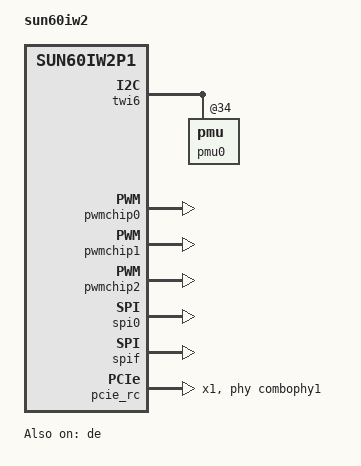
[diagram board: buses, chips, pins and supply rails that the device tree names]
/*
 * Allwinner Technology CO., Ltd. sun50iw10p1 platform
 *
 * modify base on juno.dts
 */
/dts-v1/;
#include <dt-bindings/interrupt-controller/arm-gic.h>
#include <dt-bindings/gpio/gpio.h>
#include "sun60iw2p1-clk.dtsi"
/*#include "sun50iw10p1-pinctrl.dtsi"*/
#include <dt-bindings/thermal/thermal.h>
#include <media_bus_format.h>
#include <drm/drm_mipi_dsi.h>
#include <dt-bindings/phy/phy.h>
/ {
	model = "sun60iw2";
	compatible = "allwinner,a733", "arm,sun60iw2p1";
	#address-cells = <2>;
	#size-cells = <2>;
	soc: soc@29000000 {
		compatible = "simple-bus";
		#address-cells = <2>;
		#size-cells = <2>;
		power_sply:power_sply@4500000c {
			device_type = "power_sply";

		};

		power_delay:power_delay@4500024 {
			device_type = "power_delay";
		};

		platform:platform@45000004 {
			device_type = "platform";

		};

		target:target@45000008 {
			device_type = "target";

		};

		charger0:charger0@45000010 {
			device_type = "charger0";

		};
		card_boot:card_boot@45000014 {
			device_type = "card_boot";
			logical_start   = <40960>;
			/* sprite_gpio0 = <&pio PI 9 1 0xffffffff 0xffffffff 1>; */
			boot_work_delay = <130>;
			boot_work_times = <3>;
			sprite_gpio0 = <&pio 0x8 0x9 0x1 0xffffffff 0xffffffff 0x0>;
		};

		gpio_bias:gpio_bias@45000018 {
			device_type = "gpio_bias";
		};

		fastboot_key:fastboot_key@4500001c {
			device_type = "fastboot_key";
			key_max = <42>;
			key_min = <38>;
		};

		recovery_key:recovery_key@45000020 {
			device_type = "recovery_key";
			key_max = <31>;
			key_min = <28>;
		};

		adc_boot_recovery:adc_boot_recovery@45000024 {
			device_type = "adc_boot_recovery";
		};

		gpadc_boot_recovery:gpadc_boot_recovery@45000024 {
			device_type = "gpadc_boot_recovery";
		};

		key_boot_recovery:key_boot_recovery@45000028 {
			device_type = "key_boot_recovery";
		};

		pio: pinctrl@0300b000 {
			compatible = "allwinner,sun60iw2p1-pinctrl";
			device_type = "pio";
			gpio-controller;
			#size-cells = <0>;
			#gpio-cells = <6>;
			/* takes the debounce time in usec as argument */
			input-debounce = <0 0 0 0 0 0 0 0 0>;
			r_pio: pinctrl@07025000 {

				s_twi0_pins_a: s_twi0@0 {
					allwinner,pins = "PL0", "PL1";
					allwinner,pname = "s_twi0_scl", "s_twi0_sda";
					allwinner,function = "s_twi0";
					allwinner,muxsel = <2>;
					allwinner,drive = <1>;
					allwinner,pull = <1>;
				};

				s_twi0_pins_b: s_twi0@1 {
					allwinner,pins = "PL0", "PL1";
					allwinner,function = "gpio_out";
					allwinner,muxsel = <1>;
					allwinner,drive = <1>;
					allwinner,pull = <1>;
				};
			};
			sdc0_pins_a: sdc0@0 {
			};

			sdc0_pins_b: sdc0@1 {
			};

			sdc0_pins_c: sdc0@2 {
			};

			sdc2_pins_a: sdc2@0 {
			};

			sdc2_pins_b: sdc2@1 {
			};

			sdc2_pins_c: sdc2@2 {
			};

			nand0_pins_a: nand0@0 {
			};

			nand0_pins_b: nand0@1 {
			};

			nand0_pins_c: nand0@2 {
			};

			spi0_pins_a: spi0@0 {
			};

			spi0_pins_b: spi0@1 {
			};

			spi0_pins_c: spi0@2 {
			};

			spif_pins_a: spif@0 {
			};

			spif_pins_b: spif@1 {
			};

			spif_pins_c: spif@2 {
			};

			twi6: s_twi@0x07083000 {
				pmu0: pmu@34 {
				};
			};
			lvds0_pins_a: lvds0@0 {
			};
			lvds0_pins_b: lvds0@1 {
			};
			lvds1_pins_a: lvds1@0 {
			};
			lvds1_pins_b: lvds1@1 {
			};
			lvds2_pins_a: lvds2@0 {
			};
			lvds2_pins_b: lvds2@1 {
			};
			lvds3_pins_a: lvds3@0 {
			};
			lvds3_pins_b: lvds3@1 {
			};
			lcd1_lvds2link_pins_a: lcd1_lvds2link@0 {
			};
			lcd1_lvds2link_pins_b: lcd1_lvds2link@1 {
			};
			lvds2link_pins_a: lvds2link@0 {
			};
			lvds2link_pins_b: lvds2link@1 {
			};
			rgb24_pins_a: rgb24@0 {
			};
			rgb24_pins_b: rgb24@1 {
			};
			rgb18_pins_a: rgb18@0 {
			};
			rgb18_pins_b: rgb18@1 {
			};
			eink_pins_a: eink@0 {
			};
			eink_pins_b: eink@1 {
			};
			dsi4lane_pins_a: dsi4lane@0{
			}; /* avoid compile err */
			dsi4lane_pins_b: dsi4lane@1{
			}; /* avoid compile err */
			dsi0_4lane_pins_a: dsi0_4lane@0 {
			};
			dsi0_4lane_pins_b: dsi0_4lane@1 {
			};
			dsi1_4lane_pins_a: dsi1_4lane@0 {
			};
			dsi1_4lane_pins_b: dsi1_4lane@1 {
			};
			pwm0_pin_active: pwm0@0 {
			};

			pwm0_pin_sleep: pwm0@1 {
			};

			pwm1_pin_active: pwm1@0 {
			};

			pwm1_pin_sleep: pwm1@1 {
			};

			pwm2_pin_active: pwm2@0 {
			};

			pwm2_pin_sleep: pwm2@1 {
			};

			pwm3_pin_active: pwm3@0 {
			};

			pwm3_pin_sleep: pwm3@1 {
			};

			pwm4_pin_active: pwm4@0 {
			};

			pwm4_pin_sleep: pwm4@1 {
			};

			pwm16_pin_active: pwm16@0 {
			};

			pwm16_pin_sleep: pwm16@1 {
			};

			pwm19_pin_active: pwm19@0 {
			};

			pwm19_pin_sleep: pwm19@1 {
			};
			gmac0_pins_default: gmac0@0 {
			};
			gmac0_pins_sleep: gmac0@1 {
			};
			gmac1_pins_default: gmac1@0 {
			};
			gmac1_pins_sleep: gmac1@1 {
			};
		};

		pwmchip0: pwmchip0@2527000 {
			#pwm-cells = <0x3>;
			compatible = "allwinner,sunxi-pwm";
			reg = <0x0 0x02527000 0x0 0x400>;
			pwm-number = <10>;
			pwm-base = <0x0>;
			sunxi-pwms = <&pwm0>, <&pwm1>, <&pwm2>, <&pwm3>, <&pwm4>,
			<&pwm5>, <&pwm6>, <&pwm7>, <&pwm8>, <&pwm9>;
		};

		pwm0: pwm0@2527010 {
			#pwm-cells = <0x3>;
			compatible = "allwinner,sunxi-pwm0";
			reg = <0x0 0x02527010 0x0 0x4>;
			reg_base = <0x02527000>;
			status = "disabled";
		};

		pwm1: pwm1@2527011 {
			#pwm-cells = <0x3>;
			compatible = "allwinner,sunxi-pwm1";
			reg = <0x0 0x02527011 0x0 0x4>;
			reg_base = <0x02527000>;
			status = "disabled";
		};

		pwm2: pwm2@2527012 {
			#pwm-cells = <0x3>;
			compatible = "allwinner,sunxi-pwm2";
			reg = <0x0 0x02527012 0x0 0x4>;
			reg_base = <0x02527000>;
			status = "disabled";
		};

		pwm3: pwm3@2527013 {
			#pwm-cells = <0x3>;
			compatible = "allwinner,sunxi-pwm3";
			reg = <0x0 0x02527013 0x0 0x4>;
			reg_base = <0x02527000>;
			status = "disabled";
		};

		pwm4: pwm4@2527014 {
			#pwm-cells = <0x3>;
			compatible = "allwinner,sunxi-pwm4";
			reg = <0x0 0x02527014 0x0 0x4>;
			reg_base = <0x02527000>;
			status = "disabled";
		};

		pwm5: pwm5@2527015 {
			#pwm-cells = <0x3>;
			compatible = "allwinner,sunxi-pwm5";
			reg = <0x0 0x02527015 0x0 0x4>;
			reg_base = <0x02527000>;
			status = "disabled";
		};

		pwm6: pwm6@2527016 {
			#pwm-cells = <0x3>;
			compatible = "allwinner,sunxi-pwm6";
			reg = <0x0 0x02527016 0x0 0x4>;
			reg_base = <0x02527000>;
			status = "disabled";
		};

		pwm7: pwm7@2527017 {
			#pwm-cells = <0x3>;
			compatible = "allwinner,sunxi-pwm7";
			reg = <0x0 0x02527017 0x0 0x4>;
			reg_base = <0x02527000>;
			status = "disabled";
		};

		pwm8: pwm8@2527018 {
			#pwm-cells = <0x3>;
			compatible = "allwinner,sunxi-pwm8";
			reg = <0x0 0x02527018 0x0 0x4>;
			reg_base = <0x02527000>;
			status = "disabled";
		};

		pwm9: pwm9@2527019 {
			#pwm-cells = <0x3>;
			compatible = "allwinner,sunxi-pwm9";
			reg = <0x0 0x02527019 0x0 0x4>;
			reg_base = <0x02527000>;
			status = "disabled";
		};

		pwmchip1: pwmchip1@2528000 {
			#pwm-cells = <0x3>;
			compatible = "allwinner,sunxi-pwm";
			reg = <0x0 0x02528000 0x0 0x400>;
			pwm-number = <10>;
			pwm-base = <0xa>;
			sunxi-pwms = <&pwm10>, <&pwm11>, <&pwm12>, <&pwm13>, <&pwm14>,
			<&pwm15>, <&pwm16>, <&pwm17>, <&pwm18>, <&pwm19>;
		};

		pwm10: pwm10@2528010 {
			#pwm-cells = <0x3>;
			compatible = "allwinner,sunxi-pwm10";
			reg = <0x0 0x02528010 0x0 0x4>;
			reg_base = <0x02528000>;
			status = "disabled";
		};

		pwm11: pwm11@2528011 {
			#pwm-cells = <0x3>;
			compatible = "allwinner,sunxi-pwm11";
			reg = <0x0 0x02528011 0x0 0x4>;
			reg_base = <0x02528000>;
			status = "disabled";
		};

		pwm12: pwm12@2528012 {
			#pwm-cells = <0x3>;
			compatible = "allwinner,sunxi-pwm12";
			reg = <0x0 0x02528012 0x0 0x4>;
			reg_base = <0x02528000>;
			status = "disabled";
		};

		pwm13: pwm13@2528013 {
			#pwm-cells = <0x3>;
			compatible = "allwinner,sunxi-pwm13";
			reg = <0x0 0x02528013 0x0 0x4>;
			reg_base = <0x02528000>;
			status = "disabled";
		};

		pwm14: pwm14@2528014 {
			#pwm-cells = <0x3>;
			compatible = "allwinner,sunxi-pwm14";
			reg = <0x0 0x02528014 0x0 0x4>;
			reg_base = <0x02528000>;
			status = "disabled";
		};

		pwm15: pwm15@2528015 {
			#pwm-cells = <0x3>;
			compatible = "allwinner,sunxi-pwm15";
			reg = <0x0 0x02528015 0x0 0x4>;
			reg_base = <0x02528000>;
			status = "disabled";
		};

		pwm16: pwm16@2528016 {
			#pwm-cells = <0x3>;
			compatible = "allwinner,sunxi-pwm16";
			reg = <0x0 0x02528016 0x0 0x4>;
			reg_base = <0x02528000>;
			status = "disabled";
		};

		pwm17: pwm17@2528017 {
			#pwm-cells = <0x3>;
			compatible = "allwinner,sunxi-pwm17";
			reg = <0x0 0x02528017 0x0 0x4>;
			reg_base = <0x02528000>;
			status = "disabled";
		};

		pwm18: pwm18@2528018 {
			#pwm-cells = <0x3>;
			compatible = "allwinner,sunxi-pwm18";
			reg = <0x0 0x02528018 0x0 0x4>;
			reg_base = <0x02528000>;
			status = "disabled";
		};

		pwm19: pwm19@2528019 {
			#pwm-cells = <0x3>;
			compatible = "allwinner,sunxi-pwm19";
			reg = <0x0 0x02528019 0x0 0x4>;
			reg_base = <0x02528000>;
			status = "disabled";
		};

		pwmchip2: spwm0@7023000 {
			#pwm-cells = <0x3>;
			compatible = "allwinner,sunxi-pwm";
			reg = <0x0 0x07023000 0x0 0x400>;
			pwm-number = <10>;
			pwm-base = <0x14>;
			sunxi-pwms = <&pwm20>, <&pwm21>, <&pwm22>, <&pwm23>, <&pwm24>,
			<&pwm25>, <&pwm26>, <&pwm27>, <&pwm28>, <&pwm29>;
		};

		pwm20: pwm20@7023010 {
			#pwm-cells = <0x3>;
			compatible = "allwinner,sunxi-pwm20";
			reg = <0x0 0x07023010 0x0 0x4>;
			reg_base = <0x07023000>;
			status = "disabled";
		};

		pwm21: pwm21@7023011 {
			#pwm-cells = <0x3>;
			compatible = "allwinner,sunxi-pwm21";
			reg = <0x0 0x07023011 0x0 0x4>;
			reg_base = <0x07023000>;
			status = "disabled";
		};

		pwm22: pwm22@7023012 {
			#pwm-cells = <0x3>;
			compatible = "allwinner,sunxi-pwm22";
			reg = <0x0 0x07023012 0x0 0x4>;
			reg_base = <0x07023000>;
			status = "disabled";
		};

		pwm23: pwm23@7023013 {
			#pwm-cells = <0x3>;
			compatible = "allwinner,sunxi-pwm23";
			reg = <0x0 0x07023013 0x0 0x4>;
			reg_base = <0x07023000>;
			status = "disabled";
		};

		pwm24: pwm24@7023014 {
			#pwm-cells = <0x3>;
			compatible = "allwinner,sunxi-pwm24";
			reg = <0x0 0x07023014 0x0 0x4>;
			reg_base = <0x07023000>;
			status = "disabled";
		};

		pwm25: pwm25@7023015 {
			#pwm-cells = <0x3>;
			compatible = "allwinner,sunxi-pwm25";
			reg = <0x0 0x07023015 0x0 0x4>;
			reg_base = <0x07023000>;
			status = "disabled";
		};

		pwm26: pwm26@7023016 {
			#pwm-cells = <0x3>;
			compatible = "allwinner,sunxi-pwm26";
			reg = <0x0 0x07023016 0x0 0x4>;
			reg_base = <0x07023000>;
			status = "disabled";
		};

		pwm27: pwm27@7023017 {
			#pwm-cells = <0x3>;
			compatible = "allwinner,sunxi-pwm27";
			reg = <0x0 0x07023017 0x0 0x4>;
			reg_base = <0x07023000>;
			status = "disabled";
		};

		pwm28: pwm28@7023018 {
			#pwm-cells = <0x3>;
			compatible = "allwinner,sunxi-pwm28";
			reg = <0x0 0x07023018 0x0 0x4>;
			reg_base = <0x07023000>;
			status = "disabled";
		};

		pwm29: pwm29@7023019 {
			#pwm-cells = <0x3>;
			compatible = "allwinner,sunxi-pwm29";
			reg = <0x0 0x07023019 0x0 0x4>;
			reg_base = <0x07023000>;
			status = "disabled";
		};

		card0_boot_para:card0_boot_para@2 {
			device_type = "card0_boot_para";
		};

		card2_boot_para:card2_boot_para@3 {
			device_type = "card2_boot_para";
		};

		sid: sid@3006000 {
			device_type = "sid";
		};

		nand0:nand0@04011000 {
			device_type = "nand0";
		};

		spi0: spi@2540000 {
			#address-cells = <1>;
			#size-cells = <0>;
			compatible = "allwinner,sun20i-spi";
			device_type = "spi0";
			reg = <0x0 0x02540000 0x0 0x300>;
			//interrupts-extended = <&plic0 31 IRQ_TYPE_LEVEL_HIGH>;
			//clocks = <&ccu CLK_PLL_PERIPH0>, <&ccu CLK_SPI0>, <&ccu CLK_BUS_SPI0>;
			//clock-names = "pll", "mod", "bus";
			//resets = <&ccu RST_BUS_SPI0>;
		};

		spif: spif@4f00000 {
			#address-cells = <1>;
			#size-cells = <0>;
			compatible = "allwinner,sun55i-spif";
			device_type = "spif";
			reg = <0x0 0x047f0000 0x0 0x1000>;
			//interrupts-extended = <&plic0 19 IRQ_TYPE_LEVEL_HIGH>;
			//clocks = <&ccu CLK_PLL_PERIPH0>, <&ccu CLK_SPIF>, <&ccu CLK_BUS_SPIF>;
			//clock-names = "pll", "mod", "bus";
			//resets = <&ccu RST_BUS_SPIF>;
		};

		serdes: serdes@6c00000 {
			  compatible = "allwinner,cadence-combophy";
			  reg = <0x0 0x06c00000 0x0 0x400>, /* serdes top register part-1 */
					<0x0 0x06c06000 0x0 0x2000>, /* serdes top register part-2 */
					<0x0 0x0709016c 0x0 0x4>; /* sys-rtc */
			  clocks = <&clk_serdes_phy_cfgv>,
					   <&clk_dcxo_serdes0_gate>,
					   <&clk_dcxo_serdes1_gate>;
			  clock-names = "serdes-clk",
					   "dcxo-serdes0-clk",
					   "dcxo-serdes1-clk";
			  #address-cells = <2>;
			  #size-cells = <2>;
			  ranges;
			  status = "disabled";

			  combophy0: combo-phy0@6c01000 {
				  reg = <0x0 0x06c01000 0x0 0xa00>, /* combophy0 top register */
						<0x0 0x06c80000 0x0 0x20000>; /* combophy0 phy register*/
				  #phy-cells = <1>;
			  };

			  combophy1: combo-phy1@6c02000 {
				  reg = <0x0 0x06c02000 0x0 0xa00>, /* combophy1 top register */
						<0x0 0x06ca0000 0x0 0x20000>; /* combophy1 phy register*/
				  #phy-cells = <1>;
			  };

			  aux_hpd: aux-hpd@6c01e00 {
				  reg = <0x0 0x06c01e00 0x0 0x200>; /* aux_hpd top register */
				  #phy-cells = <1>;
			  };
		};

		pcie_rc: pcie@6000000 {
			compatible = "allwinner,sunxi-pcie-v300-rc";
			#address-cells = <3>;
			#size-cells = <2>;
			bus-range = <0x0 0xff>;
			reg = <0 0x06000000 0 0x480000>;
			reg-names = "dbi";
			device_type = "pci";
			ranges = <0x00000800 0 0x20000000 0x0 0x20000000 0 0x01000000
				  0x81000000 0 0x21000000 0x0 0x21000000 0 0x01000000
				  0x82000000 0 0x22000000 0x0 0x22000000 0 0x0e000000>;
			num-lanes = <1>;
			phys = <&combophy1 PHY_TYPE_PCIE>;
			phy-names = "pcie-phy";
			#interrupt-cells = <1>;
			num-edma = <4>;
			max-link-speed = <3>;
			num-ib-windows = <16>;
			num-ob-windows = <16>;
			linux,pci-domain = <0>;
			status = "okay";
		};

		sunxi_drm: sunxi-drm {
			compatible = "allwinner,sunxi-drm";
			fb_base = <0>;
			status = "okay";
			route {
				disp0_lvds0: disp0_lvds0 {
					enable = <0>;
					status = "disabled";
					endpoints = <&disp0_out_tcon0 &tcon0_out_lvds0>;
					logo,uboot = "bootlogo.bmp";
				};
				disp0_lvds1: disp0_lvds1 {
					enable = <0>;
					status = "disabled";
					endpoints = <&disp0_out_tcon2 &tcon2_out_lvds1>;
					logo,uboot = "bootlogo.bmp";
				};
				disp0_rgb0: disp0_rgb0 {
					enable = <0>;
					status = "disabled";
					endpoints = <&disp0_out_tcon0 &tcon0_out_rgb0>;
					logo,uboot = "bootlogo.bmp";
				};
				disp0_rgb1: disp0_rgb1 {
					enable = <0>;
					status = "disabled";
					endpoints = <&disp0_out_tcon2 &tcon2_out_rgb1>;
					logo,uboot = "bootlogo.bmp";
				};
				disp0_dsi0: disp0_dsi0 {
					enable = <0>;
					status = "disabled";
					endpoints = <&disp0_out_tcon0 &tcon0_out_dsi0>;
					logo,uboot = "bootlogo.bmp";
				};
				disp0_dsi1: disp0_dsi1 {
					enable = <0>;
					status = "disabled";
					endpoints = <&disp0_out_tcon1 &tcon1_out_dsi1>;
					logo,uboot = "bootlogo.bmp";
				};
				disp0_edp0: disp0_edp0 {
					enable = <0>;
					status = "disabled";
					endpoints = <&disp0_out_tcon4 &tcon4_out_edp0>;
					logo,uboot = "bootlogo.bmp";
				};
				disp0_hdmi0: disp0_hdmi0 {
					enable = <0>;
					status = "disabled";
					endpoints = <&disp0_out_tcon3 &tcon3_out_hdmi0>;
					logo,uboot = "bootlogo.bmp";
				};

				disp1_lvds0: disp1_lvds0 {
					enable = <0>;
					status = "disabled";
					endpoints = <&disp1_out_tcon0 &tcon0_out_lvds0>;
					logo,uboot = "bootlogo.bmp";
				};
				disp1_lvds1: disp1_lvds1 {
					enable = <0>;
					status = "disabled";
					endpoints = <&disp1_out_tcon2 &tcon2_out_lvds1>;
					logo,uboot = "bootlogo.bmp";
				};
				disp1_rgb0: disp1_rgb0 {
					enable = <0>;
					status = "disabled";
					endpoints = <&disp1_out_tcon0 &tcon0_out_rgb0>;
					logo,uboot = "bootlogo.bmp";
				};
				disp1_rgb1: disp1_rgb1 {
					enable = <0>;
					status = "disabled";
					endpoints = <&disp1_out_tcon2 &tcon2_out_rgb1>;
					logo,uboot = "bootlogo.bmp";
				};
				disp1_dsi0: disp1_dsi0 {
					enable = <0>;
					status = "disabled";
					endpoints = <&disp1_out_tcon0 &tcon0_out_dsi0>;
					logo,uboot = "bootlogo.bmp";
				};
				disp1_dsi1: disp1_dsi1 {
					enable = <0>;
					status = "disabled";
					endpoints = <&disp1_out_tcon1 &tcon1_out_dsi1>;
					logo,uboot = "bootlogo.bmp";
				};
				disp1_edp0: disp1_edp0 {
					enable = <0>;
					status = "disabled";
					endpoints = <&disp1_out_tcon4 &tcon4_out_edp0>;
					logo,uboot = "bootlogo.bmp";
				};
				disp1_hdmi0: disp1_hdmi0 {
					enable = <0>;
					status = "disabled";
					endpoints = <&disp1_out_tcon3 &tcon3_out_hdmi0>;
					logo,uboot = "bootlogo.bmp";
				};
			};
		};

		de: de@5000000 {
			compatible = "allwinner,display-engine-v352";
//			iommus = <&mmu_aw 8 1>;
			/*power-domains = <&pd1 A523_PCK_DE>;*/
			reg = <0x0 0x5000000 0x0 0x400000>;
			interrupts = <GIC_SPI 50 IRQ_TYPE_LEVEL_HIGH>,
				     <GIC_SPI 34 IRQ_TYPE_LEVEL_HIGH>;
			clocks = <&clk_de0>;
			clock-names = "clk_de";

/*
			clocks = <&ccu CLK_DE0>,
				 <&ccu CLK_BUS_DE0>;
			clock-names = "clk_de",
				      "clk_bus_de";
			resets = <&ccu RST_BUS_DE0>,
				 <&ccu RST_BUS_DE_SY>;
			reset-names = "rst_bus_de",
				      "rst_bus_de_sys";
			assigned-clocks = <&ccu CLK_DE0>;
			assigned-clock-parents = <&ccu CLK_PLL_DE_3X>;
			assigned-clock-rates = <300000000>;*/
			status = "okay";
			ports {
				#address-cells = <1>;
				#size-cells = <0>;
				disp0: port@0 {
					reg = <0>;
					#address-cells = <1>;
					#size-cells = <0>;
					disp0_out_tcon0: endpoint@0 {
						reg = <0>;
						remote-endpoint = <&tcon0_in_disp0>;
					};
					disp0_out_tcon1: endpoint@1 {
						reg = <1>;
						remote-endpoint = <&tcon1_in_disp0>;
					};
					disp0_out_tcon2: endpoint@2 {
						reg = <2>;
						remote-endpoint = <&tcon2_in_disp0>;
					};
					disp0_out_tcon3: endpoint@3 {
						reg = <4>;
						remote-endpoint = <&tcon3_in_disp0>;
					};
					disp0_out_tcon4: endpoint@4 {
						reg = <5>;
						remote-endpoint = <&tcon4_in_disp0>;
					};
				};
				disp1: port@1 {
					reg = <1>;
					#address-cells = <1>;
					#size-cells = <0>;
					disp1_out_tcon0: endpoint@0 {
						reg = <0>;
						remote-endpoint = <&tcon0_in_disp1>;
					};
					disp1_out_tcon1: endpoint@1 {
						reg = <1>;
						remote-endpoint = <&tcon1_in_disp1>;
					};
					disp1_out_tcon2: endpoint@2 {
						reg = <2>;
						remote-endpoint = <&tcon2_in_disp1>;
					};
					disp1_out_tcon3: endpoint@3 {
						reg = <4>;
						remote-endpoint = <&tcon3_in_disp1>;
					};
					disp1_out_tcon4: endpoint@4 {
						reg = <5>;
						remote-endpoint = <&tcon4_in_disp1>;
					};
				};
			};
		};

		vo0: vo0@5500000 {
			compatible = "allwinner,tcon-top0";
			/*power-domains = <&pd1 A523_PCK_VO0>;*/
			reg = <0x0 0x05500000 0x0 0x1000>;
			clocks = <&clk_dpss_top0>;
			clock-names = "clk_bus_dpss_top";

			status = "disabled";
		};

		vo1: vo1@5510000 {
			compatible = "allwinner,tcon-top1";
			/*power-domains = <&pd1 A523_PCK_VO1>;*/
			reg = <0x0 0x05510000 0x0 0x1000>;
			clocks = <&clk_dpss_top1>;
			clock-names = "clk_bus_dpss_top";

			status = "disabled";
		};

		lcd0: tcon0@5501000 {
			compatible = "allwinner,tcon-lcd";
			reg = <0x0 0x05501000 0x0 0x1000>;
			interrupts = <GIC_SPI 54 IRQ_TYPE_LEVEL_HIGH>;
			clocks = <&clk_tcon_lcd0>;
			clock-names = "clk_tcon";
			top = <&vo0>;
			status = "disabled";
			ports {
				#address-cells = <1>;
				#size-cells = <0>;
				tcon0_in: port@0 {
					#address-cells = <1>;
					#size-cells = <0>;
					reg = <0>;
					tcon0_in_disp0: endpoint@0 {
						reg = <0>;
						remote-endpoint = <&disp0_out_tcon0>;
					};
					tcon0_in_disp1: endpoint@1 {
						reg = <1>;
						remote-endpoint = <&disp1_out_tcon0>;
					};
				};
				tcon0_out: port@1 {
					#address-cells = <1>;
					#size-cells = <0>;
					reg = <1>;
					tcon0_out_dsi0: endpoint@0 {
						reg = <0>;
						remote-endpoint = <&dsi0_in_tcon0>;
					};
					tcon0_out_dsi1: endpoint@1 {
						reg = <1>;
						remote-endpoint = <&dsi1_in_tcon0>;
					};
					tcon0_out_lvds0: endpoint@2 {
						reg = <2>;
						remote-endpoint = <&lvds0_in_tcon0>;
					};
					tcon0_out_rgb0: endpoint@3 {
						reg = <3>;
						remote-endpoint = <&rgb0_in_tcon0>;
					};
				};
			};
		};

		lcd1: tcon1@5502000 {
			compatible = "allwinner,tcon-lcd";
			reg = <0x0 0x05502000 0x0 0x1000>;
			interrupts = <GIC_SPI 55 IRQ_TYPE_LEVEL_HIGH>;
			clocks = <&clk_tcon_lcd1>;
			clock-names = "clk_tcon";
			top = <&vo0>;
			status = "disabled";
			ports {
				#address-cells = <1>;
				#size-cells = <0>;
				tcon1_in: port@0 {
					reg = <0>;
					#address-cells = <1>;
					#size-cells = <0>;
					tcon1_in_disp0: endpoint@0 {
						reg = <0>;
						remote-endpoint = <&disp0_out_tcon1>;
					};
					tcon1_in_disp1: endpoint@1 {
						reg = <1>;
						remote-endpoint = <&disp1_out_tcon1>;
					};
				};
				tcon1_out: port@1 {
					#address-cells = <1>;
					#size-cells = <0>;
					reg = <1>;
					tcon1_out_dsi1: endpoint@0 {
						reg = <0>;
						remote-endpoint = <&dsi1_in_tcon1>;
					};
				};
			};
		};

		lcd2: tcon2@5503000 {
			compatible = "allwinner,tcon-lcd";
			reg = <0x0 0x05503000 0x0 0x1000>;
			interrupts = <GIC_SPI 56 IRQ_TYPE_LEVEL_HIGH>;
			clocks = <&clk_tcon_lcd2>;
			clock-names = "clk_tcon";
			top = <&vo0>;
			status = "disabled";

			ports {
				#address-cells = <1>;
				#size-cells = <0>;
				tcon2_in: port@0 {
					#address-cells = <1>;
					#size-cells = <0>;
					reg = <0>;
					tcon2_in_disp0: endpoint@0 {
						reg = <0>;
						remote-endpoint = <&disp0_out_tcon2>;
					};
					tcon2_in_disp1: endpoint@1 {
						reg = <1>;
						remote-endpoint = <&disp1_out_tcon2>;
					};
				};
				tcon2_out: port@1 {
					#address-cells = <1>;
					#size-cells = <0>;
					reg = <1>;
					tcon2_out_lvds1: endpoint@0 {
						reg = <0>;
						remote-endpoint = <&lvds1_in_tcon2>;
					};
					tcon2_out_rgb1: endpoint@1 {
						reg = <1>;
						remote-endpoint = <&rgb1_in_tcon2>;
					};
				};
			};
		};

		dsi0combophy: phy@5507000 {
			compatible = "allwinner,sunxi-dsi-combo-phy0,sun60iw2";
			reg = <0x0 0x05507000 0x0 0x1ff>;
			clocks = <&clk_mipi_dsi0>;
			clock-names = "phy_clk";
			#phy-cells = <0>;
			status = "disabled";
		};

		dsi0: dsi0@5506000 {
			compatible = "allwinner,dsi0";
			reg = <0x0 0x05506000 0x0 0xfff>,
				<0x0 0x5504000 0x0 0xfff>;
			interrupts = <GIC_SPI 59 IRQ_TYPE_LEVEL_HIGH>;
			clocks = <&clk_mipi_dsi0>,
			       <&clk_mipi_dsc>;
			clock-names = "dsi_clk", "dsc_clk";
			phys = <&dsi0combophy>;
			phy-names = "combophy";
			status = "disabled";

			ports {
				#address-cells = <1>;
				#size-cells = <0>;
				dsi0_in: port@0 {
					#address-cells = <1>;
					#size-cells = <0>;
					reg = <0>;
					dsi0_in_tcon0: endpoint@0 {
						reg = <0>;
						remote-endpoint = <&tcon0_out_dsi0>;
					};
				};
			};
		};

		dsi1combophy: phy@5509000 {
			compatible = "allwinner,sunxi-dsi-combo-phy1,sun60iw2";
			reg = <0x0 0x05509000 0x0 0x1ff>;
			clocks = <&clk_mipi_dsi1>;
			clock-names = "phy_clk";
			#phy-cells = <0>;
			status = "disabled";
		};

		dsi1: dsi1@5508000 {
			compatible = "allwinner,dsi1";
			reg = <0x0 0x05508000 0x0 0xfff>;
			interrupts = <GIC_SPI 60 IRQ_TYPE_LEVEL_HIGH>;
			clocks = <&clk_mipi_dsi1>;
			clock-names = "dsi_clk";
			phys = <&dsi1combophy>;
			phy-names = "combophy";
			status = "disabled";
			ports {
				#address-cells = <1>;
				#size-cells = <0>;

				dsi1_in: port@0 {
					reg = <0>;
					#address-cells = <1>;
					#size-cells = <0>;
					dsi1_in_tcon1: endpoint@1 {
						reg = <0>;
						remote-endpoint = <&tcon1_out_dsi1>;
					};
					dsi1_in_tcon0: endpoint@0 {
						reg = <1>;
						remote-endpoint = <&tcon0_out_dsi1>;
					};
				};
			};
		};
		rgb0: rgb0@0001000 {
			compatible = "allwinner,rgb0";
			status = "disabled";
			ports {
				#address-cells = <1>;
				#size-cells = <0>;
				rgb0_in: port@0 {
					#address-cells = <1>;
					#size-cells = <0>;
					reg = <0>;
					rgb0_in_tcon0: endpoint@0 {
						reg = <0>;
						remote-endpoint = <&tcon0_out_rgb0>;
					};
				};
			};
		};

		lvds0: lvds0@0001000 {
			compatible = "allwinner,lvds0";
			clocks = <&clk_lvds0>;
			clock-names = "clk_lvds";
			phys = <&dsi0combophy>, <&dsi1combophy>;
			phy-names = "combophy0", "combophy1";
			status = "disabled";

			ports {
				#address-cells = <1>;
				#size-cells = <0>;
				lvds0_in: port@0 {
					#address-cells = <1>;
					#size-cells = <0>;
					reg = <0>;
					lvds0_in_tcon0: endpoint@0 {
						reg = <0>;
						remote-endpoint = <&tcon0_out_lvds0>;
					};
				};
			};
		};
		rgb1: rgb1@0001000 {
			compatible = "allwinner,rgb1";
			reg = <0>;
			status = "disabled";
			ports {
				#address-cells = <1>;
				#size-cells = <0>;
				rgb1_in: port@0 {
					#address-cells = <1>;
					#size-cells = <0>;
					reg = <0>;
					rgb1_in_tcon2: endpoint@0 {
						reg = <0>;
						remote-endpoint = <&tcon2_out_rgb1>;
					};
				};
			};
		};

		lvds1: lvds1@0001000 {
			compatible = "allwinner,lvds1";
			clocks = <&clk_lvds1>;
			clock-names = "clk_lvds";
			status = "disabled";

			ports {
				#address-cells = <1>;
				#size-cells = <0>;
				lvds1_in: port@0 {
					#address-cells = <1>;
					#size-cells = <0>;
					reg = <0>;
					lvds1_in_tcon2: endpoint@0 {
						reg = <0>;
						remote-endpoint = <&tcon2_out_lvds1>;
					};
				};
			};
		};

		tv0: tcon3@5730000 {
			compatible = "allwinner,tcon-tv";
			reg = <0x0 0x05730000 0x0 0x1000>;
			interrupts = <GIC_SPI 57 IRQ_TYPE_LEVEL_HIGH>;
			clocks = <&clk_tcon_tv0>;
			clock-names = "rst_bus_tcon";

			top = <&vo1>;
			status = "disabled";
			ports {
				#address-cells = <1>;
				#size-cells = <0>;
				tcon3_in: port@0 {
					#address-cells = <1>;
					#size-cells = <0>;
					reg = <0>;
					tcon3_in_disp0: endpoint@0 {
						reg = <0>;
						remote-endpoint = <&disp0_out_tcon3>;
					};
					tcon3_in_disp1: endpoint@1 {
						reg = <1>;
						remote-endpoint = <&disp1_out_tcon3>;
					};
				};
				tcon3_out: port@1 {
					#address-cells = <1>;
					#size-cells = <0>;
					reg = <1>;
					tcon3_out_hdmi0: endpoint@0 {
						reg = <0>;
						remote-endpoint = <&hdmi0_in_tcon3>;
					};
				};
			};
		};

		tv1: tcon4@5731000 {
			compatible = "allwinner,tcon-tv";
			reg = <0x0 0x05731000 0x0 0x1000>;
			interrupts = <GIC_SPI 58 IRQ_TYPE_LEVEL_HIGH>;
			clocks = <&clk_edp>, <&clk_tcon_tv1>;
			clock-names = "clk_tcon", "clk_bus_tcon";
			top = <&vo1>;
			status = "disabled";

			ports {
				#address-cells = <1>;
				#size-cells = <0>;
				tcon4_in: port@0 {
					reg = <0>;
					#address-cells = <1>;
					#size-cells = <0>;
					tcon4_in_disp0: endpoint@0 {
						reg = <0>;
						remote-endpoint = <&disp0_out_tcon4>;
					};
					tcon4_in_disp1: endpoint@1 {
						reg = <1>;
						remote-endpoint = <&disp1_out_tcon4>;
					};
				};
				tcon4_out: port@1 {
					#address-cells = <1>;
					#size-cells = <0>;
					reg = <1>;
					tcon4_out_edp0: endpoint@0 {
						reg = <0>;
						remote-endpoint = <&edp0_in_tcon4>;
					};
				};
			};
		};

		edp0: edp0@5720000 {
			compatible = "allwinner,drm-dp";
			reg = <0x0 0x05740000 0x0 0x1000>, /* edp base */
				  <0x0 0x05760000 0x0 0x0020>;  /* edp pad base */
			interrupts = <GIC_SPI 62 IRQ_TYPE_LEVEL_HIGH>;
			clocks = <&clk_edp>;
			clock-names = "clk_edp";
			/* resets = <&ccu RST_BUS_EDP>; */
			/* reset-names = "rst_bus_edp"; */
			phys = <&aux_hpd PHY_TYPE_AUX>, <&combophy0 PHY_TYPE_DP>;
			phy-names = "aux-phy", "dp-phy";
			pclk_limit = <200000>; /*KHz*/
			status = "disabled";
			ports {
				#address-cells = <1>;
				#size-cells = <0>;
				edp_in: port@0 {
					#address-cells = <1>;
					#size-cells = <0>;
					reg = <0>;
					edp0_in_tcon4: endpoint@0 {
						reg = <0>;
						remote-endpoint = <&tcon4_out_edp0>;
					};
				};
				edp_out: port@1 {
					#address-cells = <1>;
					#size-cells = <0>;
					reg = <1>;
				};
			};
		};

		hdmi0: hdmi0@5520000 {
			compatible = "allwinner,sunxi-hdmi";
			reg = <0x0 0x5520000 0x0 0x100000>;
			interrupts = <GIC_SPI 61 IRQ_TYPE_LEVEL_HIGH>;
			clocks = <&clk_hdmi_gate>,
				<&clk_hdmi_sfr>,
				<&clk_hdmi_main_rst>,
				<&clk_hdmi_sub_rst>;
			clock-names = "clk_hdmi",
				"clk_hdmi_24M",
				"rst_main",
				"rst_sub";

			assigned-clocks = <&clk_hdmi_gate>;
			assigned-clock-rates = <0>, <0>;
			/*power-domains = <&pd1 A523_PCK_VO0>;*/

			status = "disabled";
			ports {
				#address-cells = <1>;
				#size-cells = <0>;
				hdmi_in: port@0 {
					#address-cells = <1>;
					#size-cells = <0>;
					reg = <0>;
					hdmi0_in_tcon3: endpoint@0 {
						reg = <0>;
						remote-endpoint = <&tcon3_out_hdmi0>;
					};
				};
			};
		};

		gmac0: ethernet@4500000 {
			compatible = "allwinner,sunxi-gmac";
			reg = <0x0 0x04500000 0x0 0x8000>,
			      <0x0 0x04508000 0x0 0x8000>;
			clocks = <&clk_gmac0_mbus>, <&clk_gmac0_axi>, <&clk_gmac0>, <&clk_gmac0_phy>;
			clock-names = "pclk", "axi", "ahb", "phy";
			aw,gmac-version = "210";
			phy-handle = <&phy0>;
			status = "disabled";

			mdio0: mdio0 {
				#address-cells = <1>;
				#size-cells = <0>;
				compatible = "snps,dwmac-mdio";
				phy0: ethernet-phy@0 {
					reg = <0x1>;
				};
			};
		};

		gmac1: ethernet@4510000 {
			compatible = "allwinner,sunxi-gmac";
			reg = <0x0 0x04510000 0x0 0x8000>,
			      <0x0 0x04518000 0x0 0x8000>;
			clocks = <&clk_gmac1_mbus>, <&clk_gmac1_axi>, <&clk_gmac1>, <&clk_gmac1_phy>;
			clock-names = "pclk", "axi", "ahb", "phy";
			aw,gmac-version = "210";
			phy-handle = <&phy1>;
			status = "disabled";

			mdio1: mdio1 {
				#address-cells = <1>;
				#size-cells = <0>;
				compatible = "snps,dwmac-mdio";
				phy1: ethernet-phy@1 {
					reg = <0x1>;
				};
			};
		};


		clk_test: clk_test@0x12345 {
			clocks = <&clk_sdmmc0_mod>,
				<&clk_sdmmc0_rst>,
				<&clk_sdmmc0_bus>,
				<&clk_sdmmc2_mod>,
				<&clk_sdmmc2_rst>,
				<&clk_sdmmc2_bus>;
			status = "okay";
		};
	};

	gic: interrupt-controller@3020000 {
		compatible = "arm,cortex-a15-gic", "arm,cortex-a9-gic";
		#interrupt-cells = <3>;
		#address-cells = <0>;
		device_type = "gic";
		interrupt-controller;
		reg = <0x0 0x03021000 0 0x1000>, /* GIC Dist */
		      <0x0 0x03022000 0 0x2000>, /* GIC CPU */
		      <0x0 0x03024000 0 0x2000>, /* GIC VCPU Control */
		      <0x0 0x03026000 0 0x2000>; /* GIC VCPU */
		interrupts = <GIC_PPI 9 0xf04>;  /* GIC Maintenence IRQ */
		interrupt-parent = <&gic>;
	};
	aliases:aliases@45100000 {
		pwmchip0 = &pwmchip0;
		pwmchip1 = &pwmchip1;
		pwmchip2 = &pwmchip2;
		pwm0 = &pwm0;
		pwm1 = &pwm1;
		pwm2 = &pwm2;
		pwm3 = &pwm3;
		pwm4 = &pwm4;
		pwm16 = &pwm16;
		pwm19 = &pwm19;
		twi6 = &twi6;
		pmu0 = &pmu0;
		spi0 = &spi0;
		ethernet0 = &gmac0;
		ethernet1 = &gmac1;
	};

};

#include "board-uboot.dts"
